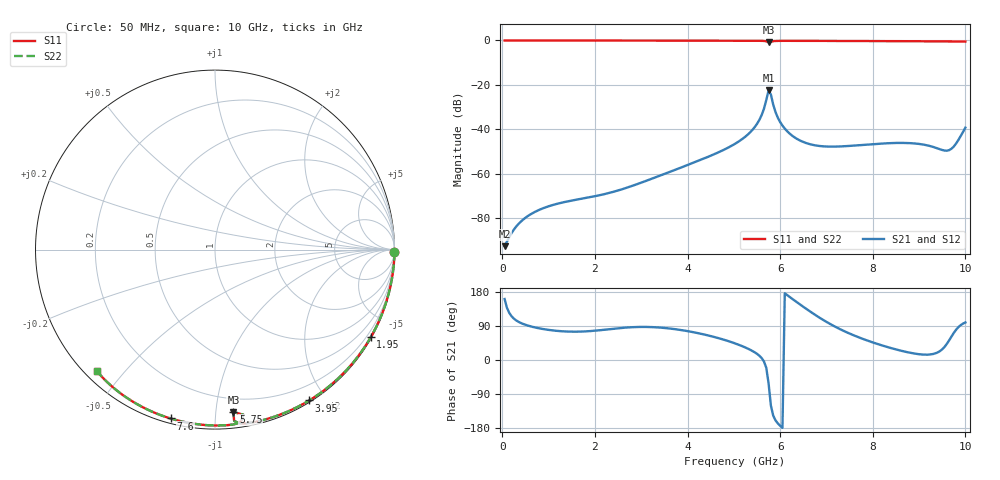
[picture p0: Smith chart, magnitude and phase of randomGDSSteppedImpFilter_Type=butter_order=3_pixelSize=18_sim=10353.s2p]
! freq	dB(S11)	phase(S11)	dB(S12)	phase(S12)
!  dB(S21)	phase(S21)	dB(S22)	phase(S22)
!S-par simulation data
#  GHz  S  DB  R 50
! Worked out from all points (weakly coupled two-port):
!   200 points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, 50 MHz to 10 GHz, reference 50 ohm
!   highest |S21| = -22.45 dB at 5.75 GHz (marker M1); lowest = -92.5 dB at 50 MHz (marker M2)
!   lowest |S11| = -0.8 dB at 5.75 GHz (marker M3), VSWR 21.45, Z = 5.24 - j55.7 ohm
!   |S11| at or under -10 dB: nowhere
!   |S22| runs from -0.8 to 0.0 dB; largest |S21 - S12| = 0
!   S11 on the Smith chart (normalised r, x): 50 MHz: open; 1.95 GHz: 0.03, -3.81; 3.95 GHz: 0.02, -1.80; 5.75 GHz: 0.10, -1.11; 7.6 GHz: 0.02, -0.77; 10 GHz: 0.03, -0.42
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0.05  -0.00 -0.8  -92.47 160.9  -92.47 160.9  -0.00 -0.8
0.45  -0.00 -6.9  -80.52 95.1  -80.52 95.1  -0.00 -6.9
1  -0.02 -15.2  -74.54 79.5  -74.54 79.5  -0.02 -15.2
1.75  -0.03 -26.4  -71.00 75.2  -71.00 75.2  -0.03 -26.4
1.95  -0.04 -29.4  -70.22 76.8  -70.22 76.8  -0.04 -29.4
3.4  -0.07 -50.4  -60.79 85.6  -60.79 85.6  -0.07 -50.3
3.95  -0.08 -58.0  -56.41 77.3  -56.41 77.3  -0.08 -58.0
5.05  -0.11 -73.1  -46.14 42.8  -46.14 42.8  -0.11 -73.1
5.5  -0.14 -79.5  -37.50 16.3  -37.50 16.3  -0.14 -79.4
5.65  -0.21 -82.3  -30.72 -3.8  -30.72 -3.8  -0.21 -82.3
5.75  -0.81 -83.5  -22.45 -61.4  -22.45 -61.4  -0.81 -83.5
5.8  -0.60 -80.2  -24.30 -120.2  -24.30 -120.2  -0.60 -80.2
5.95  -0.19 -83.4  -34.72 -167.3  -34.72 -167.3  -0.19 -83.4
6.1  -0.17 -85.7  -39.62 176.1  -39.62 176.1  -0.17 -85.7
6.35  -0.17 -89.1  -44.08 153.5  -44.08 153.5  -0.17 -89.1
6.7  -0.19 -93.6  -46.91 123.6  -46.91 123.6  -0.19 -93.6
7.6  -0.24 -104.7  -47.25 64.5  -47.25 64.5  -0.24 -104.7
8.35  -0.29 -113.7  -46.17 33.0  -46.17 33.0  -0.29 -113.7
9  -0.35 -121.4  -46.51 15.2  -46.51 15.2  -0.35 -121.4
9.6  -0.42 -128.8  -49.54 42.7  -49.54 42.7  -0.42 -128.8
9.75  -0.45 -130.7  -47.67 71.6  -47.67 71.6  -0.45 -130.7
10  -0.51 -134.2  -39.18 99.1  -39.18 99.1  -0.51 -134.2
